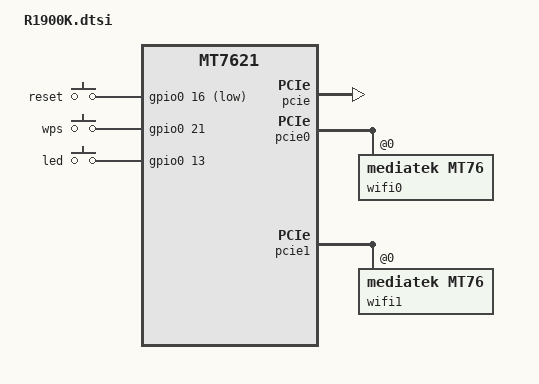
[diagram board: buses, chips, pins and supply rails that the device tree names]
// SPDX-License-Identifier: GPL-2.0-or-later OR MIT
/dts-v1/;

#include "mt7621.dtsi"

#include <dt-bindings/gpio/gpio.h>
#include <dt-bindings/input/input.h>

/ {
	aliases {
		label-mac-device = &ethernet;
	};

	chosen {
		bootargs = "console=ttyS0,57600";
	};

	keys {
		compatible = "gpio-keys";

		reset {
			label = "reset";
			gpios = <&gpio0 16 GPIO_ACTIVE_LOW>;
			linux,code = <KEY_RESTART>;
		};

		wps {
			label = "wps";
			gpios = <&gpio0 21 GPIO_ACTIVE_HIGH>;
			linux,code = <KEY_WPS_BUTTON>;
		};

		led {
			label = "led";
			gpios = <&gpio0 13 GPIO_ACTIVE_HIGH>;
			linux,code = <KEY_LIGHTS_TOGGLE>;
		};
	};
};

&pcie {
	status = "okay";
};

&pcie0 {
	wifi0: wifi@0,0 {
		compatible = "mediatek,mt76";
		reg = <0x0000 0 0 0 0>;
		mediatek,mtd-eeprom = <&factory 0x0000>;
		ieee80211-freq-limit = <2400000 2500000>;
	};
};

&pcie1 {
	wifi1: wifi@0,0 {
		compatible = "mediatek,mt76";
		reg = <0x0000 0 0 0 0>;
		mediatek,mtd-eeprom = <&factory 0x8000>;
		ieee80211-freq-limit = <5000000 6000000>;
	};
};

&ethernet {
	mtd-mac-address = <&factory 0x4>;

	/* valid VLAN portmaps for mt7530 are "llllw", "wllll", and "lwlll" */
	mediatek,portmap = "wllll";

};

&state_default {
	gpio {
		ralink,group = "i2c", "uart3", "uart2", "jtag", "wdt";
		ralink,function = "gpio";
	};
};

&xhci {
	status = "enabled";
};

